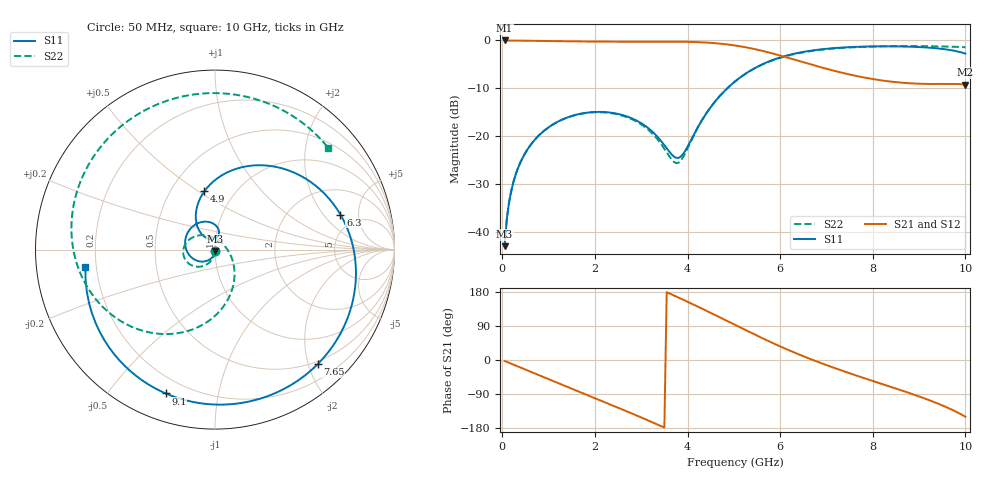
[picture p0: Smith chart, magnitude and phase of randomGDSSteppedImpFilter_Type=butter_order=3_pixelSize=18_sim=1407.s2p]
! freq	dB(S11)	phase(S11)	dB(S12)	phase(S12)
!  dB(S21)	phase(S21)	dB(S22)	phase(S22)
!S-par simulation data
#  GHz  S  DB  R 50
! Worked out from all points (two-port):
!   200 points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, 50 MHz to 10 GHz, reference 50 ohm
!   highest |S21| = -0.01 dB at 50 MHz (marker M1); lowest = -9.2 dB at 10 GHz (marker M2)
!   |S21| within 3 dB of the highest: start of sweep to 5.946 GHz
!   lowest |S11| = -42.9 dB at 50 MHz (marker M3), VSWR 1.01, Z = 50.1 - j0.712 ohm
!   |S11| at or under -10 dB: start of sweep to 4.858 GHz
!   |S22| runs from -42.9 to -1.2 dB; largest |S21 - S12| = 0
!   S11 on the Smith chart (normalised r, x): 50 MHz: 1.00, -0.01; 4.9 GHz: 0.73, +0.53; 6.3 GHz: 3.67, +3.03; 7.65 GHz: 0.45, -2.16; 9.1 GHz: 0.12, -0.71; 10 GHz: 0.16, -0.07
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0.05  -42.92 -84.3  -0.01 -2.6  -0.01 -2.6  -42.89 -83.2
0.1  -37.04 -91.8  -0.02 -5.1  -0.02 -5.1  -37.00 -89.7
0.2  -31.11 -100.5  -0.03 -10.2  -0.03 -10.2  -31.07 -96.2
0.5  -23.44 -120.8  -0.06 -25.3  -0.06 -25.3  -23.41 -110.0
1.15  -17.22 -161.4  -0.15 -58.0  -0.15 -58.0  -17.21 -136.1
1.75  -15.19 161.7  -0.23 -88.0  -0.23 -88.0  -15.22 -159.5
2.5  -15.34 116.5  -0.27 -125.8  -0.27 -125.8  -15.46 170.2
3  -17.27 89.3  -0.26 -151.6  -0.26 -151.6  -17.53 146.2
3.4  -20.66 76.4  -0.25 -172.9  -0.25 -172.9  -21.24 116.8
3.8  -24.52 102.4  -0.27 165.0  -0.27 165.0  -25.55 40.6
4.4  -15.31 126.1  -0.45 130.4  -0.45 130.4  -15.27 -50.8
4.9  -9.62 100.3  -0.89 100.3  -0.89 100.3  -9.60 -83.4
5.05  -8.38 91.1  -1.10 91.2  -1.10 91.2  -8.37 -92.1
5.65  -4.84 53.5  -2.26 55.5  -2.26 55.5  -4.88 -124.8
6.3  -2.79 15.6  -3.99 20.0  -3.99 20.0  -2.87 -157.2
6.7  -2.09 -5.2  -5.11 0.4  -5.11 0.4  -2.18 -175.5
7.15  -1.62 -26.5  -6.30 -20.1  -6.30 -20.1  -1.71 165.1
7.65  -1.34 -48.2  -7.43 -41.2  -7.43 -41.2  -1.41 144.5
8.35  -1.23 -76.6  -8.55 -69.3  -8.55 -69.3  -1.22 116.3
9.1  -1.44 -108.9  -9.07 -100.6  -9.07 -100.6  -1.20 85.0
9.6  -1.90 -137.2  -9.09 -125.0  -9.09 -125.0  -1.28 62.4
10  -2.75 -172.3  -9.21 -149.8  -9.21 -149.8  -1.43 42.0
